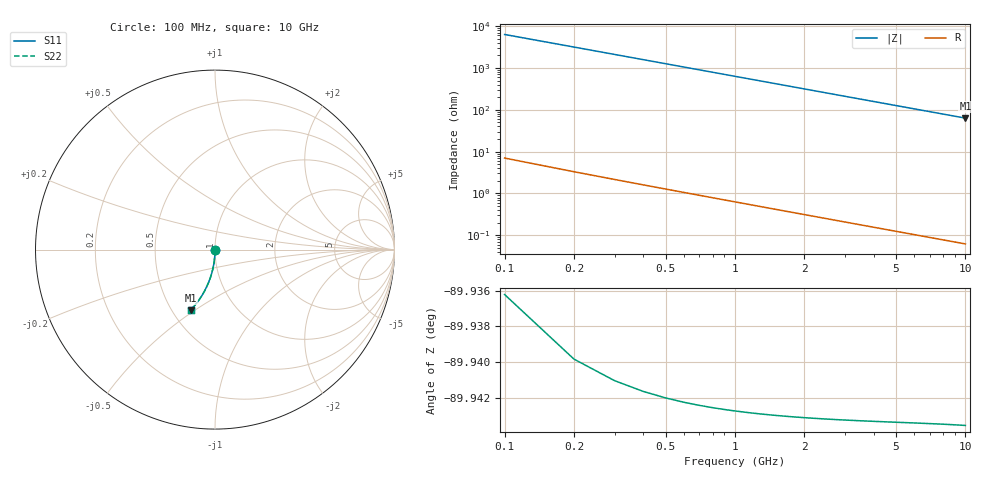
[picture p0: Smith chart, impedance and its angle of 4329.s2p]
# Hz S RI R 50.00
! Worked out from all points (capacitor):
!   100 points, 100 MHz to 10 GHz, reference 50 ohm
!   read as one part in shunt: C = 253 fF near 100 MHz
!   lowest |Z| = 63.2 ohm at 10 GHz (marker M1)
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1e8  -5.24e-06 -0.00392  1 -0.00402  1 -0.00402  -5.24e-06 -0.00392
2e8  -5.63e-05 -0.00784  0.9999 -0.00804  0.9999 -0.00804  -5.63e-05 -0.00784
3e8  -0.000139 -0.0118  0.9998 -0.0121  0.9998 -0.0121  -0.000139 -0.0118
4e8  -0.000253 -0.0157  0.9997 -0.0161  0.9997 -0.0161  -0.000253 -0.0157
5e8  -0.000398 -0.0196  0.9996 -0.0201  0.9996 -0.0201  -0.000398 -0.0196
6e8  -0.000575 -0.0235  0.9994 -0.0241  0.9994 -0.0241  -0.000575 -0.0235
7e8  -0.000784 -0.0274  0.9992 -0.0281  0.9992 -0.0281  -0.000784 -0.0274
8e8  -0.00102 -0.0313  0.9989 -0.0321  0.9989 -0.0321  -0.00102 -0.0313
9e8  -0.00129 -0.0352  0.9987 -0.0361  0.9987 -0.0361  -0.00129 -0.0352
1.1e9  -0.00193 -0.043  0.998 -0.0441  0.998 -0.0441  -0.00193 -0.043
1.4e9  -0.00312 -0.0547  0.9969 -0.0561  0.9969 -0.0561  -0.00312 -0.0547
1.8e9  -0.00513 -0.0701  0.9948 -0.072  0.9948 -0.072  -0.00513 -0.0701
2.1e9  -0.00696 -0.0817  0.993 -0.0838  0.993 -0.0838  -0.00696 -0.0817
2.5e9  -0.00983 -0.097  0.9901 -0.0995  0.9901 -0.0995  -0.00983 -0.097
2.9e9  -0.0132 -0.1121  0.9868 -0.115  0.9868 -0.115  -0.0132 -0.1121
3.4e9  -0.018 -0.1307  0.982 -0.1342  0.982 -0.1342  -0.018 -0.1307
4.2e9  -0.0272 -0.16  0.9728 -0.1643  0.9728 -0.1643  -0.0272 -0.16
5.1e9  -0.0395 -0.1917  0.9605 -0.197  0.9605 -0.197  -0.0395 -0.1917
5.9e9  -0.0521 -0.2188  0.9478 -0.2249  0.9478 -0.2249  -0.0521 -0.2188
6.7e9  -0.0662 -0.2447  0.9338 -0.2516  0.9338 -0.2516  -0.0662 -0.2447
8.4e9  -0.1001 -0.2954  0.8998 -0.3041  0.8998 -0.3041  -0.1001 -0.2954
1e10  -0.1361 -0.3373  0.8638 -0.3477  0.8638 -0.3477  -0.1361 -0.3373
